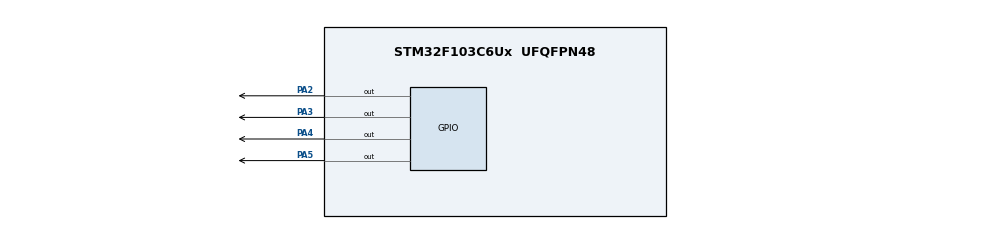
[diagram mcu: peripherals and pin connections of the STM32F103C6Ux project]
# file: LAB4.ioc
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IWDG.Prescaler=IWDG_PRESCALER_32
Mcu.Family=STM32F1
Mcu.Name=STM32F103C6Ux
Mcu.Package=UFQFPN48
NVIC.PriorityGroup=NVIC_PRIORITYGROUP_4
NVIC.TIM2_IRQn=true\:0\:0\:false\:false\:true\:true\:true\:true
PA2.Signal=GPIO_Output
PA3.Signal=GPIO_Output
PA4.Signal=GPIO_Output
PA5.Signal=GPIO_Output
ProjectManager.HeapSize=0x200
ProjectManager.StackSize=0x400
ProjectManager.TargetToolchain=STM32CubeIDE
RCC.APB1Freq_Value=8000000
RCC.APB2Freq_Value=8000000
TIM2.Period=9
TIM2.Prescaler=7999
VP_IWDG_VS_IWDG.Mode=IWDG_Activate
VP_SYS_VS_ND.Mode=No_Debug
VP_TIM2_VS_ClockSourceINT.Mode=Internal
board=custom

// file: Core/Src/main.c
/* USER CODE BEGIN Header */
/**
  ******************************************************************************
  * @file           : main.c
  * @brief          : Main program body
  ******************************************************************************
  * @attention
  *
  * Copyright (c) 2024 STMicroelectronics.
  * All rights reserved.
  *
  * This software is licensed under terms that can be found in the LICENSE file
  * in the root directory of this software component.
  * If no LICENSE file comes with this software, it is provided AS-IS.
  *
  ******************************************************************************
  */
/* USER CODE END Header */
#include "main.h"

/* USER CODE BEGIN Includes */
#include "global.h"
#include "lab4.h"
#include "fsm_automatic.h"
#include "fsm_manual.h"
#include "fsm_setting.h"
/* USER CODE END Includes */

TIM_HandleTypeDef htim2;

void SystemClock_Config(void);
static void MX_GPIO_Init(void);
static void MX_TIM2_Init(void);

/* USER CODE BEGIN 0 */
void run_all(){
	run_automatic();
	run_manual();
}
/* USER CODE END 0 */

int main(void)
{

  /* MCU Configuration--------------------------------------------------------*/

  /* Reset of all peripherals, Initializes the Flash interface and the Systick. */
  HAL_Init();

  /* Configure the system clock */
  SystemClock_Config();

  /* Initialize all configured peripherals */
  MX_GPIO_Init();
  MX_TIM2_Init();
  MX_IWDG_Init();
  /* USER CODE BEGIN 2 */
  HAL_TIM_Base_Start_IT (& htim2 );
  /* USER CODE END 2 */

  /* Infinite loop */
  /* USER CODE BEGIN WHILE */

  SCH_Init();

  SCH_Add_Task(getKeyInput, 500 , 10);
  SCH_Add_Task(run_automatic, 1000, 1000);
  SCH_Add_Task(run_manual, 1000, 100);
  SCH_Add_Task(run_setting, 1000, 100);
  SCH_Add_Task(run7SEG, 2000, 125);

  while (1)
  {
    /* USER CODE END WHILE */

    /* USER CODE BEGIN 3 */
	  SCH_Dispatch_Task() ;

  /* USER CODE END 3 */
  }
}

void SystemClock_Config(void)
{
  RCC_OscInitTypeDef RCC_OscInitStruct = {0};
  RCC_ClkInitTypeDef RCC_ClkInitStruct = {0};

  /** Initializes the RCC Oscillators according to the specified parameters
  * in the RCC_OscInitTypeDef structure.
  */
  RCC_OscInitStruct.OscillatorType = RCC_OSCILLATORTYPE_HSI|RCC_OSCILLATORTYPE_LSI;
  RCC_OscInitStruct.HSIState = RCC_HSI_ON;
  RCC_OscInitStruct.HSICalibrationValue = RCC_HSICALIBRATION_DEFAULT;
  RCC_OscInitStruct.LSIState = RCC_LSI_ON;
  RCC_OscInitStruct.PLL.PLLState = RCC_PLL_NONE;
  if (HAL_RCC_OscConfig(&RCC_OscInitStruct) != HAL_OK)
  {
    Error_Handler();
  }

  /** Initializes the CPU, AHB and APB buses clocks
  */
  RCC_ClkInitStruct.ClockType = RCC_CLOCKTYPE_HCLK|RCC_CLOCKTYPE_SYSCLK
                              |RCC_CLOCKTYPE_PCLK1|RCC_CLOCKTYPE_PCLK2;
  RCC_ClkInitStruct.SYSCLKSource = RCC_SYSCLKSOURCE_HSI;
  RCC_ClkInitStruct.AHBCLKDivider = RCC_SYSCLK_DIV1;
  RCC_ClkInitStruct.APB1CLKDivider = RCC_HCLK_DIV1;
  RCC_ClkInitStruct.APB2CLKDivider = RCC_HCLK_DIV1;

  if (HAL_RCC_ClockConfig(&RCC_ClkInitStruct, FLASH_LATENCY_0) != HAL_OK)
  {
    Error_Handler();
  }
}

static void MX_TIM2_Init(void)
{

  TIM_ClockConfigTypeDef sClockSourceConfig = {0};
  TIM_MasterConfigTypeDef sMasterConfig = {0};

  htim2.Instance = TIM2;
  htim2.Init.Prescaler = 7999;
  htim2.Init.CounterMode = TIM_COUNTERMODE_UP;
  htim2.Init.Period = 9;
  htim2.Init.ClockDivision = TIM_CLOCKDIVISION_DIV1;
  htim2.Init.AutoReloadPreload = TIM_AUTORELOAD_PRELOAD_DISABLE;
  if (HAL_TIM_Base_Init(&htim2) != HAL_OK)
  {
    Error_Handler();
  }
  sClockSourceConfig.ClockSource = TIM_CLOCKSOURCE_INTERNAL;
  if (HAL_TIM_ConfigClockSource(&htim2, &sClockSourceConfig) != HAL_OK)
  {
    Error_Handler();
  }
  sMasterConfig.MasterOutputTrigger = TIM_TRGO_RESET;
  sMasterConfig.MasterSlaveMode = TIM_MASTERSLAVEMODE_DISABLE;
  if (HAL_TIMEx_MasterConfigSynchronization(&htim2, &sMasterConfig) != HAL_OK)
  {
    Error_Handler();
  }

}

static void MX_GPIO_Init(void)
{
	  GPIO_Init();
}

/* USER CODE BEGIN 4 */
void HAL_TIM_PeriodElapsedCallback(TIM_HandleTypeDef *htim){
	//timer_run();
	SCH_Update();
}

/* USER CODE END 4 */

void Error_Handler(void)
{
  __disable_irq();
  while (1)
  {
  }
}
